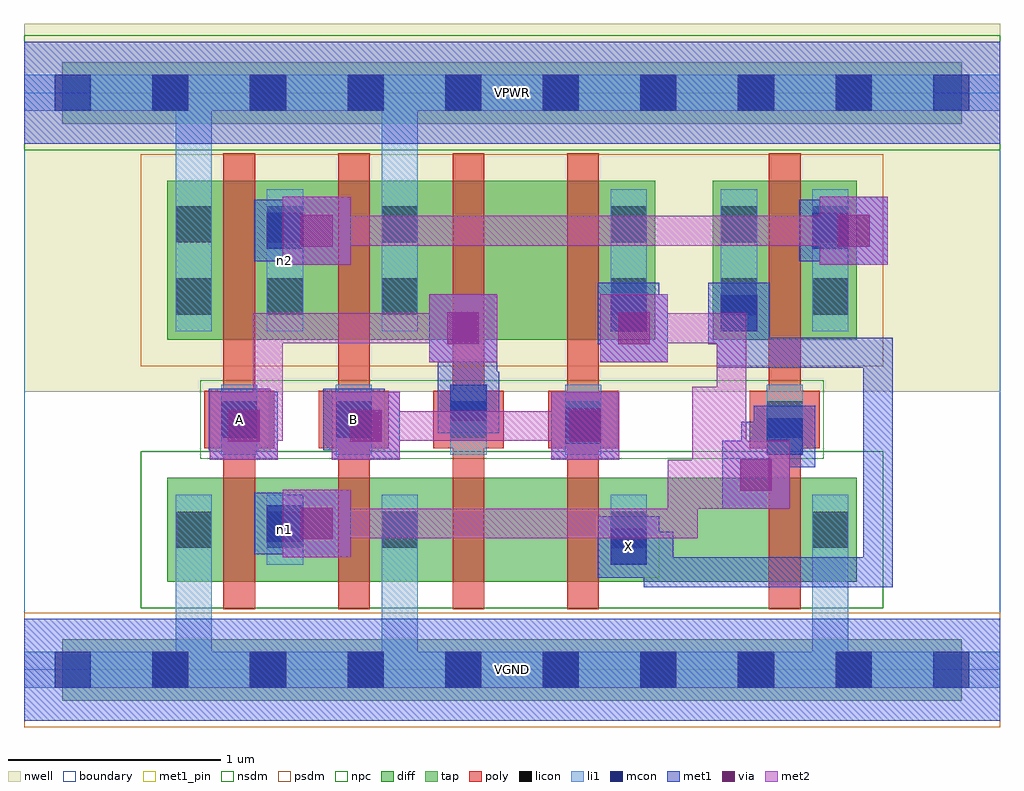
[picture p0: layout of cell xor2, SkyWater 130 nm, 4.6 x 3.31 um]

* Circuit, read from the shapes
.subckt xor2 A B VGND VPWR X n1 n2
XM1 n1 A VGND VGND sky130_fd_pr__nfet_01v8 w=0.49 l=0.15
XM2 VGND B n1 VGND sky130_fd_pr__nfet_01v8 w=0.49 l=0.15
XM3 n3 A VGND VGND sky130_fd_pr__nfet_01v8 w=0.49 l=0.15
XM4 X B n3 VGND sky130_fd_pr__nfet_01v8 w=0.49 l=0.15
XM5 VGND n1 X VGND sky130_fd_pr__nfet_01v8 w=0.49 l=0.15
XM6 n2 A VPWR VPWR sky130_fd_pr__pfet_01v8 w=0.75 l=0.15
XM7 VPWR B n2 VPWR sky130_fd_pr__pfet_01v8 w=0.75 l=0.15
XM8 n4 A VPWR VPWR sky130_fd_pr__pfet_01v8 w=0.75 l=0.15
XM9 n1 B n4 VPWR sky130_fd_pr__pfet_01v8 w=0.75 l=0.15
XM10 n2 n1 X VPWR sky130_fd_pr__pfet_01v8 w=0.75 l=0.15
.ends

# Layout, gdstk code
import gdstk
lib = gdstk.Library(unit=1e-6, precision=1e-09)
def R(c, l, rs):  # rectangles x0, y0, x1, y1
    for r in rs: c.add(gdstk.rectangle(r[:2], r[2:], *l))
def A(c, l, x, y, w, h, nx, ny, dx, dy):  # array of equal rectangles
    R(c, l, [(x+i*dx, y+j*dy, x+i*dx+w, y+j*dy+h) for i in range(nx) for j in range(ny)])
nwell = (64, 20)
diff = (65, 20)
tap = (65, 44)
poly = (66, 20)
licon = (66, 44)
li1 = (67, 20)
mcon = (67, 44)
met1_pin = (68, 16)
met1 = (68, 20)
via = (68, 44)
met2 = (69, 20)
nsdm = (93, 44)
psdm = (94, 20)
npc = (95, 20)
boundary = (235, 4)

xor2 = lib.new_cell('xor2')
R(xor2, nwell, [(0,1.31,4.6,3.045)])
R(xor2, diff, [(0.675,0.415,3.925,0.905), (0.675,1.555,2.975,2.305), (3.245,1.555,3.925,2.305)])
R(xor2, tap, [(0.18,-0.145,4.42,0.145), (0.18,2.575,4.42,2.865)])
A(xor2, poly, 0.94, 0.285, 0.15, 2.15, 4, 1, 0.54, 0)
A(xor2, poly, 0.85, 1.045, 0.33, 0.27, 4, 1, 0.54, 0)
R(xor2, poly, [(3.51,0.285,3.66,2.435), (3.42,1.045,3.75,1.315)])
A(xor2, licon, 0.605, -0.085, 0.17, 0.17, 8, 2, 0.46, 2.72)
A(xor2, licon, 0.93, 1.095, 0.17, 0.17, 4, 1, 0.54, 0)
R(xor2, licon, [(0.715,0.575,0.885,0.745), (1.145,0.575,1.315,0.745), (1.685,0.575,1.855,0.745), (2.765,0.575,2.935,0.745), (3.715,0.575,3.885,0.745), (3.5,1.095,3.67,1.265), (0.715,1.675,0.885,1.845), (1.145,1.675,1.315,1.845), (1.685,1.675,1.855,1.845), (2.765,1.675,2.935,1.845), (3.285,1.675,3.455,1.845), (3.715,1.675,3.885,1.845), (0.715,2.015,0.885,2.185), (1.145,2.015,1.315,2.185), (1.685,2.015,1.855,2.185), (2.765,2.015,2.935,2.185), (3.285,2.015,3.455,2.185), (3.715,2.015,3.885,2.185)])
A(xor2, li1, 0.93, 1.015, 0.17, 0.33, 4, 1, 0.54, 0)
R(xor2, li1, [(0,-0.085,4.6,0.085), (0.715,-0.085,0.885,0.825), (1.685,-0.085,1.855,0.825), (3.715,-0.085,3.885,0.825), (0.715,0.495,0.885,0.825), (1.145,0.495,1.315,0.825), (1.685,0.495,1.855,0.825), (2.765,0.495,2.935,0.825), (3.715,0.495,3.885,0.825), (3.5,1.015,3.67,1.345), (0.715,1.595,0.885,2.265), (0.715,1.595,0.885,2.805), (1.145,1.595,1.315,2.265), (1.685,1.595,1.855,2.265), (1.685,1.595,1.855,2.805), (2.765,1.595,2.935,2.265), (3.285,1.595,3.455,2.265), (3.715,1.595,3.885,2.265), (0,2.635,4.6,2.805)])
A(xor2, mcon, 0.145, -0.085, 0.17, 0.17, 10, 2, 0.46, 2.72)
R(xor2, mcon, [(2.765,0.495,2.935,0.665), (1.145,0.605,1.315,0.775), (3.5,1.015,3.67,1.185), (2.55,1.065,2.72,1.235), (0.93,1.095,1.1,1.265), (1.47,1.095,1.64,1.265), (2.01,1.175,2.18,1.345), (2.765,1.595,2.935,1.765), (3.285,1.595,3.455,1.765), (1.145,1.985,1.315,2.155), (3.715,1.985,3.885,2.155)])
R(xor2, met1_pin, [(0,-0.24,4.6,0.24), (2.705,0.435,2.995,0.725), (0.87,1.035,1.16,1.325), (1.41,1.035,1.7,1.325), (0,2.48,4.6,2.96)])
R(xor2, met1, [(0,-0.24,4.6,0.24), (2.92,0.39,3.06,0.65), (2.92,0.39,4.095,0.53), (3.955,0.39,4.095,1.565), (2.705,0.435,2.995,0.725), (2.78,0.51,3.06,0.65), (1.22,0.53,1.54,0.85), (1.085,0.545,1.375,0.835), (1.16,0.62,1.45,0.76), (3.29,0.76,3.61,1.08), (3.38,0.85,3.52,1.17), (3.44,0.955,3.73,1.245), (0.875,0.99,1.195,1.31), (1.45,0.99,1.77,1.31), (2.485,0.99,2.805,1.31), (2.49,1.005,2.78,1.295), (3.38,1.03,3.655,1.17), (0.87,1.035,1.16,1.325), (1.41,1.035,1.7,1.325), (0.965,1.08,1.105,1.22), (1.54,1.08,1.68,1.22), (2.565,1.08,2.715,1.22), (1.95,1.115,2.24,1.405), (2,1.19,2.165,1.33), (2,1.19,2.14,1.45), (2,1.31,2.14,1.68), (2,1.33,2.165,1.45), (1.95,1.405,2.23,1.45), (3.265,1.425,3.405,1.75), (3.265,1.425,4.095,1.565), (1.91,1.45,2.23,1.77), (2.715,1.45,3.035,1.77), (2.705,1.535,2.995,1.825), (3.225,1.535,3.515,1.825), (2.805,1.54,2.945,1.75), (2.78,1.61,2.945,1.75), (3.265,1.61,3.44,1.75), (1.22,1.91,1.54,2.23), (3.75,1.91,4.07,2.23), (1.085,1.925,1.375,2.215), (3.655,1.925,3.945,2.215), (1.16,2,1.45,2.14), (3.73,2,3.98,2.14), (0,2.48,4.6,2.96)])
R(xor2, via, [(1.305,0.615,1.455,0.765), (3.375,0.845,3.525,0.995), (0.96,1.075,1.11,1.225), (1.535,1.075,1.685,1.225), (2.57,1.075,2.72,1.225), (1.995,1.535,2.145,1.685), (2.8,1.535,2.95,1.685), (1.305,1.995,1.455,2.145), (3.835,1.995,3.985,2.145)])
R(xor2, met2, [(1.22,0.53,1.54,0.85), (1.31,0.62,3.175,0.76), (3.035,0.62,3.175,0.99), (3.175,0.76,3.29,0.99), (3.29,0.76,3.61,1.08), (3.035,0.85,3.52,0.99), (3.15,0.85,3.29,1.335), (0.875,0.99,1.195,1.31), (1.45,0.99,1.77,1.31), (2.485,0.99,2.805,1.31), (0.965,1.08,1.22,1.22), (1.08,1.08,1.22,1.68), (1.54,1.08,2.715,1.22), (3.29,1.08,3.405,1.195), (3.15,1.195,3.405,1.335), (3.265,1.195,3.405,1.68), (1.91,1.45,2.23,1.77), (2.715,1.45,3.035,1.77), (1.08,1.54,2.14,1.68), (2.805,1.54,3.405,1.68), (1.22,1.91,1.54,2.23), (3.75,1.91,4.07,2.23), (1.31,2,3.98,2.14)])
R(xor2, nsdm, [(0.55,0.29,4.05,1.03), (0,2.45,4.6,2.99)])
R(xor2, psdm, [(0,-0.27,4.6,0.27), (0.55,1.43,4.05,2.43)])
R(xor2, npc, [(0.83,0.995,3.77,1.365)])
R(xor2, boundary, [(0,0,4.6,2.72)])
xor2.add(gdstk.Label('n1', (1.23,0.66), layer=67, texttype=5))
xor2.add(gdstk.Label('n2', (1.23,1.93), layer=67, texttype=5))
xor2.add(gdstk.Label('A', (1.015,1.18), layer=68, texttype=5))
xor2.add(gdstk.Label('B', (1.555,1.18), layer=68, texttype=5))
xor2.add(gdstk.Label('X', (2.85,0.58), layer=68, texttype=5))
xor2.add(gdstk.Label('VPWR', (2.3,2.72), layer=68, texttype=5))
xor2.add(gdstk.Label('VGND', (2.3,0), layer=68, texttype=5))
xor2.add(gdstk.Label('A', (1.015,1.18), layer=68, texttype=16))
xor2.add(gdstk.Label('B', (1.555,1.18), layer=68, texttype=16))
xor2.add(gdstk.Label('X', (2.85,0.58), layer=68, texttype=16))
xor2.add(gdstk.Label('VPWR', (2.3,2.72), layer=68, texttype=16))
xor2.add(gdstk.Label('VGND', (2.3,0), layer=68, texttype=16))

lib.write_gds('xor2.gds')
